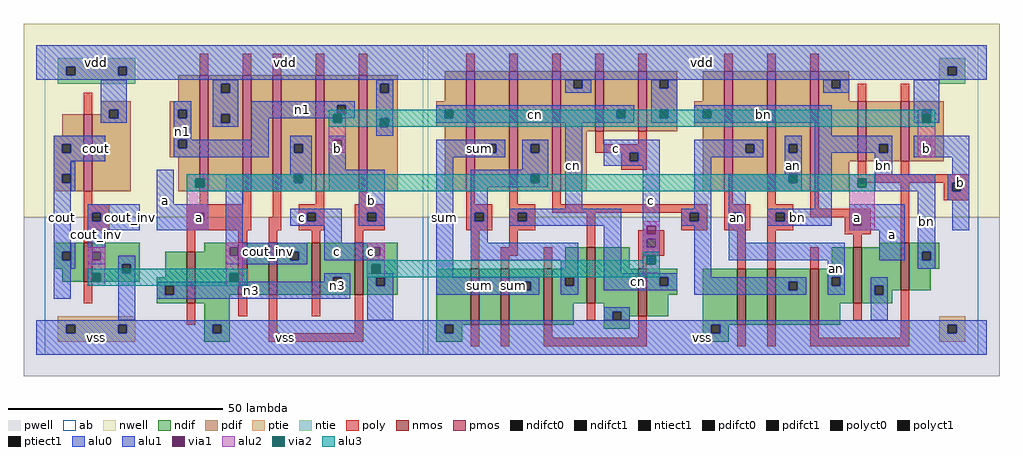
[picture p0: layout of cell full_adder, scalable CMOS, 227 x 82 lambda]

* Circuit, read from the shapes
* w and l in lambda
.subckt full_adder a an b bn c cn cout cout_inv n1 n3 sum vdd vss
M1 vss cout_inv cout vss nfet w=9 l=2
M2 vss a n3 vss nfet w=12 l=2
M3 n2 a vss vss nfet w=12 l=2
M4 cout_inv b n2 vss nfet w=12 l=2
M5 n3 c cout_inv vss nfet w=12 l=2
M6 vss b n3 vss nfet w=12 l=2
M7 n4 n5 vss vss nfet w=13 l=2
M8 sum cn n4 vss nfet w=13 l=2
M9 n5 c sum vss nfet w=13 l=2
M10 vss n6 n5 vss nfet w=13 l=2
M11 cn c vss vss nfet w=11 l=2
M12 n7 an vss vss nfet w=13 l=2
M13 n6 bn n7 vss nfet w=13 l=2
M14 an b n6 vss nfet w=13 l=2
M15 vss a an vss nfet w=13 l=2
M16 bn b vss vss nfet w=11 l=2
M17 vdd cout_inv cout vdd pfet w=18 l=2
M18 vdd a n1 vdd pfet w=27 l=2
M19 n8 a vdd vdd pfet w=27 l=2
M20 cout_inv b n8 vdd pfet w=27 l=2
M21 n1 c cout_inv vdd pfet w=27 l=2
M22 vdd b n1 vdd pfet w=27 l=2
M23 sum n5 cn vdd pfet w=28 l=2
M24 n5 cn sum vdd pfet w=28 l=2
M25 vdd n6 n5 vdd pfet w=28 l=2
M26 cn c vdd vdd pfet w=14 l=2 m=2
M27 n6 an bn vdd pfet w=28 l=2
M28 an bn n6 vdd pfet w=28 l=2
M29 vdd a an vdd pfet w=28 l=2
M30 bn b vdd vdd pfet w=14 l=2 m=2
.ends

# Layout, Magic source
magic
tech scmos
<< ab >>
rect 58 -15 146 57
rect 147 -15 275 57
<< nwell >>
rect 53 17 280 62
<< pwell >>
rect 53 -20 280 17
<< poly >>
rect 94 50 96 55
rect 104 50 106 55
rect 111 50 113 55
rect 121 50 123 55
rect 131 50 133 55
rect 156 51 158 55
rect 166 51 168 55
rect 176 51 178 55
rect 186 51 188 55
rect 196 51 198 55
rect 216 51 218 55
rect 226 51 228 55
rect 236 51 238 55
rect 67 41 69 46
rect 186 34 188 37
rect 196 34 198 37
rect 186 32 198 34
rect 192 30 194 32
rect 196 30 198 32
rect 192 28 198 30
rect 247 44 249 48
rect 257 44 259 48
rect 247 27 249 30
rect 257 27 259 30
rect 247 25 273 27
rect 67 20 69 23
rect 94 20 96 23
rect 104 20 106 23
rect 67 18 73 20
rect 67 16 69 18
rect 71 16 73 18
rect 67 14 73 16
rect 91 18 106 20
rect 91 16 93 18
rect 95 16 106 18
rect 111 17 113 23
rect 121 20 123 23
rect 131 20 133 23
rect 156 20 158 23
rect 166 20 168 23
rect 176 20 178 23
rect 216 20 218 23
rect 226 20 228 23
rect 91 14 106 16
rect 110 14 113 17
rect 117 18 123 20
rect 117 16 119 18
rect 121 16 123 18
rect 117 14 123 16
rect 130 18 137 20
rect 130 16 133 18
rect 135 16 137 18
rect 130 14 137 16
rect 156 18 162 20
rect 156 16 158 18
rect 160 16 162 18
rect 156 14 162 16
rect 166 18 172 20
rect 176 18 212 20
rect 166 16 168 18
rect 170 16 172 18
rect 166 14 172 16
rect 67 11 69 14
rect 91 9 93 14
rect 103 11 105 14
rect 110 11 112 14
rect 120 11 122 14
rect 130 11 132 14
rect 67 -3 69 2
rect 157 5 159 14
rect 166 10 168 14
rect 184 10 186 18
rect 206 16 208 18
rect 210 16 212 18
rect 206 14 212 16
rect 216 18 222 20
rect 216 16 218 18
rect 220 16 222 18
rect 216 14 222 16
rect 226 18 232 20
rect 226 16 228 18
rect 230 16 232 18
rect 236 19 238 23
rect 236 17 250 19
rect 226 14 232 16
rect 244 15 246 17
rect 248 15 250 17
rect 196 12 202 14
rect 196 10 198 12
rect 200 10 202 12
rect 164 8 168 10
rect 164 5 166 8
rect 174 5 176 10
rect 91 -8 93 -3
rect 103 -6 105 -1
rect 110 -10 112 -1
rect 120 -6 122 -1
rect 130 -10 132 -1
rect 110 -12 132 -10
rect 196 8 202 10
rect 196 5 198 8
rect 219 5 221 14
rect 226 5 228 14
rect 244 13 250 15
rect 246 10 248 13
rect 257 11 259 25
rect 267 23 269 25
rect 271 23 273 25
rect 267 21 273 23
rect 236 5 238 10
rect 184 -7 186 -3
rect 157 -13 159 -8
rect 164 -13 166 -8
rect 174 -11 176 -8
rect 196 -11 198 -6
rect 174 -13 198 -11
rect 246 -7 248 -3
rect 219 -13 221 -8
rect 226 -13 228 -8
rect 236 -11 238 -8
rect 257 -11 259 0
rect 236 -13 259 -11
<< ndif >>
rect 60 9 67 11
rect 60 7 62 9
rect 64 7 67 9
rect 60 5 67 7
rect 62 2 67 5
rect 69 6 80 11
rect 95 9 103 11
rect 69 4 76 6
rect 78 4 80 6
rect 69 2 80 4
rect 86 3 91 9
rect 84 1 91 3
rect 84 -1 86 1
rect 88 -1 91 1
rect 84 -3 91 -1
rect 93 -1 103 9
rect 105 -1 110 11
rect 112 9 120 11
rect 112 7 115 9
rect 117 7 120 9
rect 112 -1 120 7
rect 122 3 130 11
rect 122 1 125 3
rect 127 1 130 3
rect 122 -1 130 1
rect 132 3 140 11
rect 179 5 184 10
rect 132 1 135 3
rect 137 1 140 3
rect 132 -1 140 1
rect 93 -3 101 -1
rect 95 -8 101 -3
rect 95 -10 97 -8
rect 99 -10 101 -8
rect 95 -12 101 -10
rect 149 -8 157 5
rect 159 -8 164 5
rect 166 2 174 5
rect 166 0 169 2
rect 171 0 174 2
rect 166 -8 174 0
rect 176 3 184 5
rect 176 1 179 3
rect 181 1 184 3
rect 176 -3 184 1
rect 186 5 194 10
rect 252 10 257 11
rect 241 5 246 10
rect 186 -3 196 5
rect 176 -8 181 -3
rect 188 -5 196 -3
rect 188 -7 190 -5
rect 192 -6 196 -5
rect 198 3 205 5
rect 198 1 201 3
rect 203 1 205 3
rect 198 -1 205 1
rect 198 -6 203 -1
rect 192 -7 194 -6
rect 149 -10 151 -8
rect 153 -10 155 -8
rect 149 -12 155 -10
rect 188 -9 194 -7
rect 211 -8 219 5
rect 221 -8 226 5
rect 228 2 236 5
rect 228 0 231 2
rect 233 0 236 2
rect 228 -8 236 0
rect 238 3 246 5
rect 238 1 241 3
rect 243 1 246 3
rect 238 -3 246 1
rect 248 1 257 10
rect 248 -1 251 1
rect 253 0 257 1
rect 259 9 266 11
rect 259 7 262 9
rect 264 7 266 9
rect 259 5 266 7
rect 259 0 264 5
rect 253 -1 255 0
rect 248 -3 255 -1
rect 238 -8 243 -3
rect 211 -10 213 -8
rect 215 -10 217 -8
rect 211 -12 217 -10
<< pdif >>
rect 89 44 94 50
rect 71 42 78 44
rect 71 41 73 42
rect 62 36 67 41
rect 60 34 67 36
rect 60 32 62 34
rect 64 32 67 34
rect 60 27 67 32
rect 60 25 62 27
rect 64 25 67 27
rect 60 23 67 25
rect 69 40 73 41
rect 75 40 78 42
rect 69 23 78 40
rect 87 42 94 44
rect 87 40 89 42
rect 91 40 94 42
rect 87 35 94 40
rect 87 33 89 35
rect 91 33 94 35
rect 87 31 94 33
rect 89 23 94 31
rect 96 48 104 50
rect 96 46 99 48
rect 101 46 104 48
rect 96 41 104 46
rect 96 39 99 41
rect 101 39 104 41
rect 96 23 104 39
rect 106 23 111 50
rect 113 34 121 50
rect 113 32 116 34
rect 118 32 121 34
rect 113 27 121 32
rect 113 25 116 27
rect 118 25 121 27
rect 113 23 121 25
rect 123 43 131 50
rect 123 41 126 43
rect 128 41 131 43
rect 123 23 131 41
rect 133 48 140 50
rect 133 46 136 48
rect 138 46 140 48
rect 133 40 140 46
rect 151 44 156 51
rect 133 38 136 40
rect 138 38 140 40
rect 149 42 156 44
rect 149 40 151 42
rect 153 40 156 42
rect 149 38 156 40
rect 133 23 140 38
rect 151 23 156 38
rect 158 34 166 51
rect 158 32 161 34
rect 163 32 166 34
rect 158 23 166 32
rect 168 34 176 51
rect 168 32 171 34
rect 173 32 176 34
rect 168 27 176 32
rect 168 25 171 27
rect 173 25 176 27
rect 168 23 176 25
rect 178 49 186 51
rect 178 47 181 49
rect 183 47 186 49
rect 178 37 186 47
rect 188 42 196 51
rect 188 40 191 42
rect 193 40 196 42
rect 188 37 196 40
rect 198 49 205 51
rect 198 47 201 49
rect 203 47 205 49
rect 198 42 205 47
rect 211 44 216 51
rect 198 40 201 42
rect 203 40 205 42
rect 198 37 205 40
rect 209 42 216 44
rect 209 40 211 42
rect 213 40 216 42
rect 209 38 216 40
rect 178 23 184 37
rect 211 23 216 38
rect 218 34 226 51
rect 218 32 221 34
rect 223 32 226 34
rect 218 23 226 32
rect 228 34 236 51
rect 228 32 231 34
rect 233 32 236 34
rect 228 27 236 32
rect 228 25 231 27
rect 233 25 236 27
rect 228 23 236 25
rect 238 49 245 51
rect 238 47 241 49
rect 243 47 245 49
rect 238 44 245 47
rect 238 30 247 44
rect 249 34 257 44
rect 249 32 252 34
rect 254 32 257 34
rect 249 30 257 32
rect 259 42 267 44
rect 259 40 262 42
rect 264 40 267 42
rect 259 30 267 40
rect 238 23 245 30
<< alu1 >>
rect 56 52 277 57
rect 56 50 63 52
rect 65 50 75 52
rect 77 50 268 52
rect 270 50 277 52
rect 56 49 277 50
rect 60 34 72 36
rect 60 32 62 34
rect 64 32 72 34
rect 60 30 72 32
rect 115 34 120 36
rect 115 32 116 34
rect 118 32 120 34
rect 60 27 64 30
rect 60 25 62 27
rect 60 9 64 25
rect 84 20 88 28
rect 115 27 120 32
rect 100 25 116 27
rect 118 25 120 27
rect 100 23 120 25
rect 124 35 128 36
rect 124 33 125 35
rect 127 33 128 35
rect 124 28 128 33
rect 149 34 165 35
rect 149 32 161 34
rect 163 32 165 34
rect 149 31 165 32
rect 124 23 137 28
rect 68 18 80 20
rect 68 16 69 18
rect 71 16 80 18
rect 68 14 80 16
rect 84 18 96 20
rect 84 16 93 18
rect 95 16 96 18
rect 84 14 96 16
rect 60 7 62 9
rect 60 -2 64 7
rect 68 9 72 14
rect 68 7 69 9
rect 71 7 72 9
rect 100 11 104 23
rect 115 18 127 19
rect 115 16 119 18
rect 121 16 127 18
rect 115 15 127 16
rect 131 18 137 23
rect 131 16 133 18
rect 135 16 137 18
rect 131 15 137 16
rect 123 11 127 15
rect 100 10 119 11
rect 100 8 101 10
rect 103 9 119 10
rect 103 8 115 9
rect 68 6 72 7
rect 100 7 115 8
rect 117 7 119 9
rect 123 10 137 11
rect 123 8 134 10
rect 136 8 137 10
rect 123 7 137 8
rect 100 6 119 7
rect 149 3 153 31
rect 188 32 201 35
rect 188 30 194 32
rect 196 30 201 32
rect 188 29 201 30
rect 149 2 173 3
rect 149 0 169 2
rect 171 0 173 2
rect 149 -1 173 0
rect 197 15 201 29
rect 197 13 198 15
rect 200 13 201 15
rect 197 12 201 13
rect 197 10 198 12
rect 200 10 201 12
rect 197 8 201 10
rect 260 34 273 36
rect 260 32 262 34
rect 264 32 273 34
rect 260 31 273 32
rect 269 27 273 31
rect 245 17 258 20
rect 245 15 246 17
rect 248 15 258 17
rect 245 14 258 15
rect 252 7 258 14
rect 268 25 273 27
rect 268 23 269 25
rect 271 23 273 25
rect 268 21 273 23
rect 269 14 273 21
rect 56 -8 277 -7
rect 56 -10 63 -8
rect 65 -10 75 -8
rect 77 -10 97 -8
rect 99 -10 151 -8
rect 153 -10 213 -8
rect 215 -10 268 -8
rect 270 -10 277 -8
rect 56 -15 277 -10
<< alu2 >>
rect 124 41 128 42
rect 124 39 125 41
rect 127 39 128 41
rect 124 35 128 39
rect 124 33 125 35
rect 127 33 128 35
rect 124 32 128 33
rect 261 41 265 42
rect 261 39 262 41
rect 264 39 265 41
rect 261 34 265 39
rect 261 32 262 34
rect 264 32 265 34
rect 261 31 265 32
rect 91 26 96 27
rect 91 24 93 26
rect 95 24 96 26
rect 91 18 96 24
rect 91 16 93 18
rect 95 16 96 18
rect 245 26 251 27
rect 245 24 247 26
rect 249 24 251 26
rect 245 17 251 24
rect 91 14 96 16
rect 197 15 201 16
rect 197 13 198 15
rect 200 13 201 15
rect 245 15 246 17
rect 248 15 251 17
rect 245 14 251 15
rect 100 10 104 11
rect 68 9 72 10
rect 68 7 69 9
rect 71 7 72 9
rect 68 4 72 7
rect 68 2 69 4
rect 71 2 72 4
rect 68 1 72 2
rect 100 8 101 10
rect 103 8 104 10
rect 100 4 104 8
rect 100 2 101 4
rect 103 2 104 4
rect 133 10 137 11
rect 133 8 134 10
rect 136 8 137 10
rect 133 6 137 8
rect 133 4 134 6
rect 136 4 137 6
rect 197 8 201 13
rect 197 6 198 8
rect 200 6 201 8
rect 197 4 201 6
rect 133 3 137 4
rect 100 1 104 2
<< alu3 >>
rect 124 41 265 42
rect 124 39 125 41
rect 127 39 262 41
rect 264 39 265 41
rect 124 38 265 39
rect 91 26 251 27
rect 91 24 93 26
rect 95 24 247 26
rect 249 24 251 26
rect 91 23 251 24
rect 197 8 201 9
rect 197 7 198 8
rect 133 6 198 7
rect 200 6 201 8
rect 68 4 105 5
rect 68 2 69 4
rect 71 2 101 4
rect 103 2 105 4
rect 133 4 134 6
rect 136 4 201 6
rect 133 3 201 4
rect 68 1 105 2
<< ptie >>
rect 61 -8 79 -6
rect 61 -10 63 -8
rect 65 -10 75 -8
rect 77 -10 79 -8
rect 61 -12 79 -10
rect 266 -8 272 -6
rect 266 -10 268 -8
rect 270 -10 272 -8
rect 266 -12 272 -10
<< ntie >>
rect 61 52 79 54
rect 61 50 63 52
rect 65 50 75 52
rect 77 50 79 52
rect 266 52 272 54
rect 61 48 79 50
rect 266 50 268 52
rect 270 50 272 52
rect 266 48 272 50
<< nmos >>
rect 67 2 69 11
rect 91 -3 93 9
rect 103 -1 105 11
rect 110 -1 112 11
rect 120 -1 122 11
rect 130 -1 132 11
rect 157 -8 159 5
rect 164 -8 166 5
rect 174 -8 176 5
rect 184 -3 186 10
rect 196 -6 198 5
rect 219 -8 221 5
rect 226 -8 228 5
rect 236 -8 238 5
rect 246 -3 248 10
rect 257 0 259 11
<< pmos >>
rect 67 23 69 41
rect 94 23 96 50
rect 104 23 106 50
rect 111 23 113 50
rect 121 23 123 50
rect 131 23 133 50
rect 156 23 158 51
rect 166 23 168 51
rect 176 23 178 51
rect 186 37 188 51
rect 196 37 198 51
rect 216 23 218 51
rect 226 23 228 51
rect 236 23 238 51
rect 247 30 249 44
rect 257 30 259 44
<< polyct0 >>
rect 158 16 160 18
rect 168 16 170 18
rect 208 16 210 18
rect 218 16 220 18
rect 228 16 230 18
<< polyct1 >>
rect 194 30 196 32
rect 69 16 71 18
rect 93 16 95 18
rect 119 16 121 18
rect 133 16 135 18
rect 246 15 248 17
rect 198 10 200 12
rect 269 23 271 25
<< ndifct0 >>
rect 76 4 78 6
rect 86 -1 88 1
rect 125 1 127 3
rect 135 1 137 3
rect 179 1 181 3
rect 190 -7 192 -5
rect 201 1 203 3
rect 231 0 233 2
rect 241 1 243 3
rect 251 -1 253 1
rect 262 7 264 9
<< ndifct1 >>
rect 62 7 64 9
rect 115 7 117 9
rect 97 -10 99 -8
rect 169 0 171 2
rect 151 -10 153 -8
rect 213 -10 215 -8
<< ntiect1 >>
rect 63 50 65 52
rect 75 50 77 52
rect 268 50 270 52
<< ptiect1 >>
rect 63 -10 65 -8
rect 75 -10 77 -8
rect 268 -10 270 -8
<< pdifct0 >>
rect 73 40 75 42
rect 89 40 91 42
rect 89 33 91 35
rect 99 46 101 48
rect 99 39 101 41
rect 126 41 128 43
rect 136 46 138 48
rect 136 38 138 40
rect 151 40 153 42
rect 171 32 173 34
rect 171 25 173 27
rect 181 47 183 49
rect 191 40 193 42
rect 201 47 203 49
rect 201 40 203 42
rect 211 40 213 42
rect 221 32 223 34
rect 231 32 233 34
rect 231 25 233 27
rect 241 47 243 49
rect 252 32 254 34
rect 262 40 264 42
<< pdifct1 >>
rect 62 32 64 34
rect 62 25 64 27
rect 116 32 118 34
rect 116 25 118 27
rect 161 32 163 34
<< alu0 >>
rect 71 42 77 49
rect 97 48 103 49
rect 97 46 99 48
rect 101 46 103 48
rect 71 40 73 42
rect 75 40 77 42
rect 71 39 77 40
rect 88 42 92 44
rect 88 40 89 42
rect 91 40 92 42
rect 88 35 92 40
rect 97 41 103 46
rect 135 48 139 49
rect 135 46 136 48
rect 138 46 139 48
rect 179 47 181 49
rect 183 47 185 49
rect 179 46 185 47
rect 199 47 201 49
rect 203 47 205 49
rect 97 39 99 41
rect 101 39 103 41
rect 97 38 103 39
rect 106 43 130 44
rect 106 41 126 43
rect 128 41 130 43
rect 106 40 130 41
rect 135 40 139 46
rect 106 35 110 40
rect 135 38 136 40
rect 138 38 139 40
rect 149 42 195 43
rect 149 40 151 42
rect 153 40 191 42
rect 193 40 195 42
rect 149 39 195 40
rect 199 42 205 47
rect 239 47 241 49
rect 243 47 245 49
rect 239 46 245 47
rect 199 40 201 42
rect 203 40 205 42
rect 199 39 205 40
rect 209 42 241 43
rect 209 40 211 42
rect 213 40 241 42
rect 209 39 241 40
rect 260 42 266 49
rect 260 40 262 42
rect 264 40 266 42
rect 260 39 266 40
rect 135 36 139 38
rect 88 33 89 35
rect 91 33 110 35
rect 88 31 110 33
rect 64 23 65 30
rect 169 34 175 35
rect 169 32 171 34
rect 173 32 175 34
rect 64 5 65 11
rect 75 6 79 8
rect 75 4 76 6
rect 78 4 79 6
rect 75 -7 79 4
rect 123 3 129 4
rect 123 2 125 3
rect 84 1 125 2
rect 127 1 129 3
rect 84 -1 86 1
rect 88 -1 129 1
rect 84 -2 129 -1
rect 133 3 139 4
rect 133 1 135 3
rect 137 1 139 3
rect 133 -7 139 1
rect 169 28 175 32
rect 157 27 175 28
rect 157 25 171 27
rect 173 25 175 27
rect 157 24 175 25
rect 157 18 161 24
rect 179 19 183 39
rect 237 36 241 39
rect 157 16 158 18
rect 160 16 161 18
rect 157 11 161 16
rect 166 18 192 19
rect 166 16 168 18
rect 170 16 192 18
rect 166 15 192 16
rect 157 7 182 11
rect 178 3 182 7
rect 178 1 179 3
rect 181 1 182 3
rect 178 -1 182 1
rect 188 4 192 15
rect 209 34 225 35
rect 209 32 221 34
rect 223 32 225 34
rect 209 31 225 32
rect 230 34 234 36
rect 230 32 231 34
rect 233 32 234 34
rect 209 19 213 31
rect 230 27 234 32
rect 206 18 213 19
rect 206 16 208 18
rect 210 16 213 18
rect 206 15 213 16
rect 188 3 205 4
rect 188 1 201 3
rect 203 1 205 3
rect 188 0 205 1
rect 209 3 213 15
rect 217 25 231 27
rect 233 25 234 27
rect 217 23 234 25
rect 237 34 255 36
rect 237 32 252 34
rect 254 32 255 34
rect 217 18 221 23
rect 237 19 241 32
rect 251 27 255 32
rect 251 23 265 27
rect 217 16 218 18
rect 220 16 221 18
rect 217 11 221 16
rect 226 18 241 19
rect 226 16 228 18
rect 230 16 241 18
rect 226 15 241 16
rect 217 7 244 11
rect 261 9 265 23
rect 261 7 262 9
rect 264 7 265 9
rect 240 3 244 7
rect 261 5 265 7
rect 209 2 235 3
rect 209 0 231 2
rect 233 0 235 2
rect 209 -1 235 0
rect 240 1 241 3
rect 243 1 244 3
rect 240 -1 244 1
rect 250 1 254 3
rect 250 -1 251 1
rect 253 -1 254 1
rect 188 -5 194 -4
rect 188 -7 190 -5
rect 192 -7 194 -5
rect 250 -7 254 -1
<< via1 >>
rect 125 33 127 35
rect 93 16 95 18
rect 69 7 71 9
rect 101 8 103 10
rect 134 8 136 10
rect 198 13 200 15
rect 262 32 264 34
rect 246 15 248 17
<< via2 >>
rect 125 39 127 41
rect 262 39 264 41
rect 93 24 95 26
rect 247 24 249 26
rect 69 2 71 4
rect 101 2 103 4
rect 134 4 136 6
rect 198 6 200 8
<< labels >>
rlabel via1 263 33 263 33 6 b
rlabel alu1 271 25 271 25 6 b
rlabel alu1 255 13 255 13 6 a
rlabel alu1 247 17 247 17 6 a
rlabel alu1 211 53 211 53 6 vdd
rlabel alu1 211 -11 211 -11 6 vss
rlabel alu1 191 33 191 33 6 c
rlabel alu1 199 21 199 21 6 c
rlabel alu0 225 41 225 41 6 bn
rlabel alu0 263 16 263 16 6 bn
rlabel alu0 253 29 253 29 6 bn
rlabel alu0 233 17 233 17 6 bn
rlabel alu0 242 5 242 5 6 an
rlabel polyct0 219 17 219 17 6 an
rlabel alu0 232 29 232 29 6 an
rlabel alu0 181 29 181 29 6 cn
rlabel alu0 172 41 172 41 6 cn
rlabel alu0 196 2 196 2 6 cn
rlabel alu1 134 21 134 21 6 b
rlabel alu1 134 9 134 9 6 c
rlabel alu1 114 53 114 53 6 vdd
rlabel alu1 126 33 126 33 6 b
rlabel alu1 126 9 126 9 6 c
rlabel alu1 118 17 118 17 6 c
rlabel alu1 114 -11 114 -11 6 vss
rlabel alu1 86 21 86 21 6 a
rlabel polyct1 94 17 94 17 6 a
rlabel alu0 118 42 118 42 6 n1
rlabel alu0 126 1 126 1 6 n3
rlabel alu0 106 0 106 0 6 n3
rlabel alu0 90 37 90 37 6 n1
rlabel alu1 70 53 70 53 6 vdd
rlabel alu1 70 -11 70 -11 6 vss
rlabel alu1 78 17 78 17 1 cout_inv
rlabel alu1 70 13 70 13 1 cout_inv
rlabel alu1 62 17 62 17 1 cout
rlabel alu1 70 33 70 33 1 cout
rlabel alu1 110 9 110 9 1 cout_inv
rlabel alu1 159 33 159 33 1 sum
rlabel alu1 151 17 151 17 1 sum
rlabel alu1 159 1 159 1 1 sum
rlabel alu1 167 1 167 1 1 sum
<< end >>
